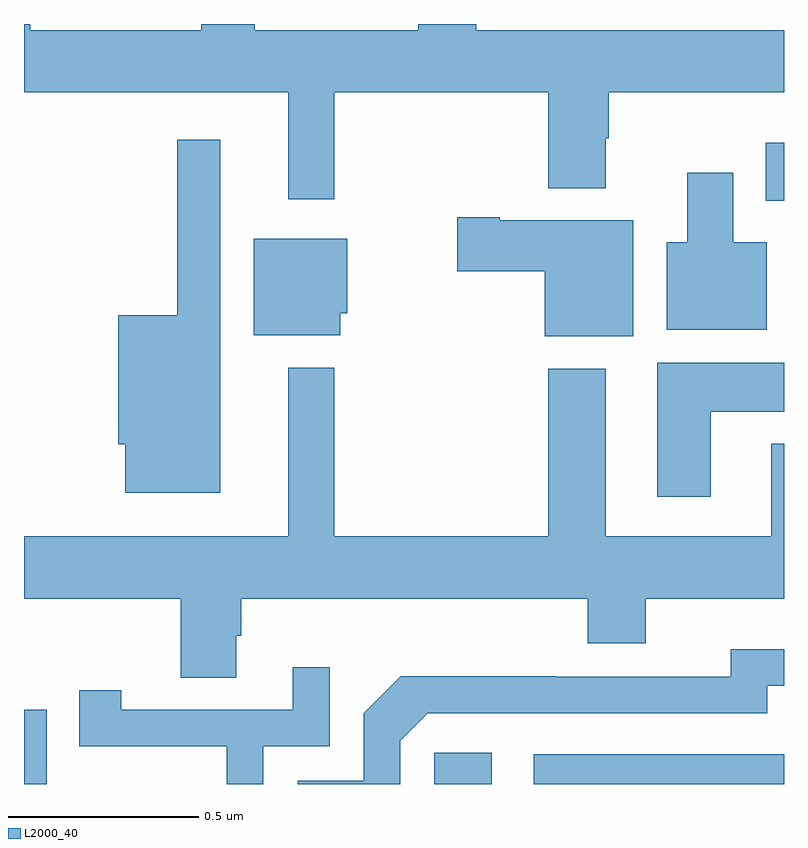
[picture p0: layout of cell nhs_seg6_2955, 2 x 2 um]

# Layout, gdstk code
import gdstk
lib = gdstk.Library(unit=1e-6, precision=1e-09)
def R(c, l, rs):  # rectangles x0, y0, x1, y1
    for r in rs: c.add(gdstk.rectangle(r[:2], r[2:], *l))
def P(c, l, *ps):  # polygons
    for p in ps: c.add(gdstk.Polygon(p, *l))
L2000_40 = (2000, 40)

nhs_seg6_2955 = lib.new_cell('nhs_seg6_2955')
R(nhs_seg6_2955, L2000_40, [(150,961.5,150.06,961.695), (151.08,961.5,151.231,961.582), (151.341,961.5,152,961.578), (151.952,963.035,152,963.187)])
P(nhs_seg6_2955, L2000_40, [(150.817,963.32),(151.379,963.32),(151.379,963.068),(151.531,963.068),(151.531,963.2),(151.539,963.2),(151.539,963.32),(152,963.32),(152,963.484),(151.19,963.484),(151.19,963.5),(151.037,963.5),(151.037,963.484),(150.607,963.484),(150.607,963.5),(150.467,963.5),(150.467,963.484),(150.017,963.484),(150.017,963.5),(150,963.5),(150,963.32),(150.695,963.32),(150.695,963.039),(150.817,963.039)],
  [(150.517,963.196),(150.403,963.196),(150.403,962.734),(150.248,962.734),(150.248,962.394),(150.266,962.394),(150.266,962.267),(150.517,962.267)],
  [(151.954,962.926),(151.867,962.926),(151.867,963.109),(151.745,963.109),(151.745,962.926),(151.691,962.926),(151.691,962.696),(151.954,962.696)],
  [(151.603,962.983),(151.252,962.983),(151.252,962.991),(151.14,962.991),(151.14,962.849),(151.37,962.849),(151.37,962.678),(151.603,962.678)],
  [(150.832,962.739),(150.85,962.739),(150.85,962.935),(150.605,962.935),(150.605,962.681),(150.832,962.681)],
  [(151.807,962.48),(152,962.48),(152,962.608),(151.667,962.608),(151.667,962.256),(151.807,962.256)],
  [(150.559,961.89),(150.572,961.89),(150.572,961.988),(151.484,961.988),(151.484,961.871),(151.636,961.871),(151.636,961.988),(152,961.988),(152,962.395),(151.967,962.395),(151.967,962.152),(151.531,962.152),(151.531,962.593),(151.379,962.593),(151.379,962.152),(150.817,962.152),(150.817,962.596),(150.695,962.596),(150.695,962.152),(150,962.152),(150,961.988),(150.412,961.988),(150.412,961.78),(150.559,961.78)],
  [(150.99,961.614),(151.062,961.686),(151.956,961.686),(151.956,961.758),(152,961.758),(152,961.855),(151.86,961.855),(151.86,961.782),(151.4,961.782),(151.4,961.784),(150.992,961.784),(150.894,961.686),(150.894,961.509),(150.72,961.509),(150.72,961.5),(150.99,961.5)],
  [(150.63,961.599),(150.804,961.599),(150.804,961.807),(150.707,961.807),(150.707,961.695),(150.256,961.695),(150.256,961.747),(150.145,961.747),(150.145,961.599),(150.534,961.599),(150.534,961.5),(150.63,961.5)])

lib.write_gds('nhs_seg6_2955.gds')
